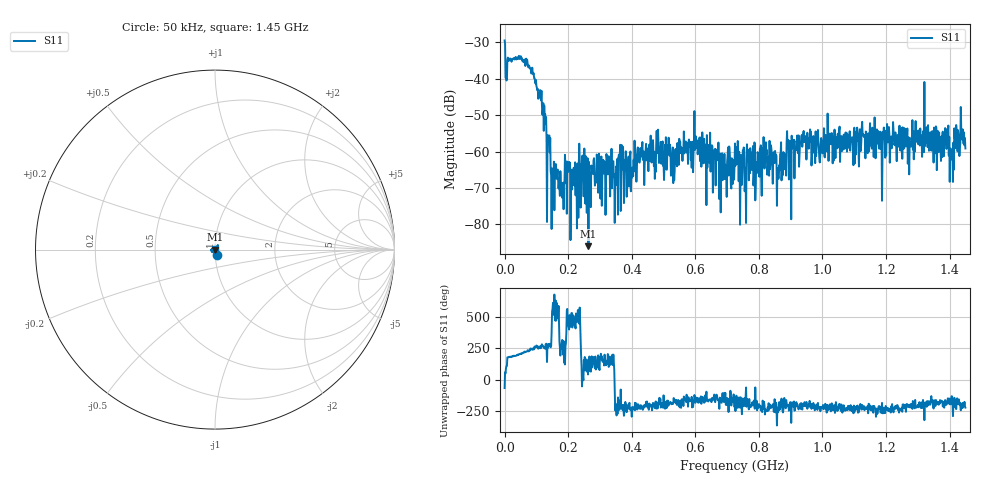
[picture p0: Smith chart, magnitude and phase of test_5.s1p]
! Created with skrf 1.11.0 (http://scikit-rf.org).
# Hz S RI R 50.0
!freq ReS11 ImS11
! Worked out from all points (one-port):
!   1001 points, 50 kHz to 1.45 GHz, reference 50 ohm
!   lowest |S11| = -86.0 dB at 263.9 MHz (marker M1), VSWR 1.00, Z = 50 + j0.0037 ohm
!   |S11| at or under -10 dB: start of sweep to end of sweep
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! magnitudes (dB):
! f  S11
! 50 kHz  -29.5
! 84.15 MHz  -38.6
! 123.3 MHz  -54.3
! 152.3 MHz  -74.6
! 165.3 MHz  -66.1
! 181.3 MHz  -72.7
! 197.2 MHz  -62.8
! 263.9 MHz  -86.0
! 285.7 MHz  -66.9
! 349.5 MHz  -69.3
! 362.5 MHz  -60.7
! 484.3 MHz  -58.3
! 529.3 MHz  -58.9
! 543.8 MHz  -57.7
! 603.2 MHz  -59.1
! 683 MHz  -61.2
! 725 MHz  -57.8
! 752.6 MHz  -58.9
! 817.8 MHz  -64.6
! 864.2 MHz  -63.7
! 906.3 MHz  -58.4
! 941.1 MHz  -54.3
! 1.088 GHz  -59.7
! 1.269 GHz  -63.3
! 1.392 GHz  -57.1
! 1.407 GHz  -62.2
! 1.422 GHz  -54.2
! 1.45 GHz  -59.1
